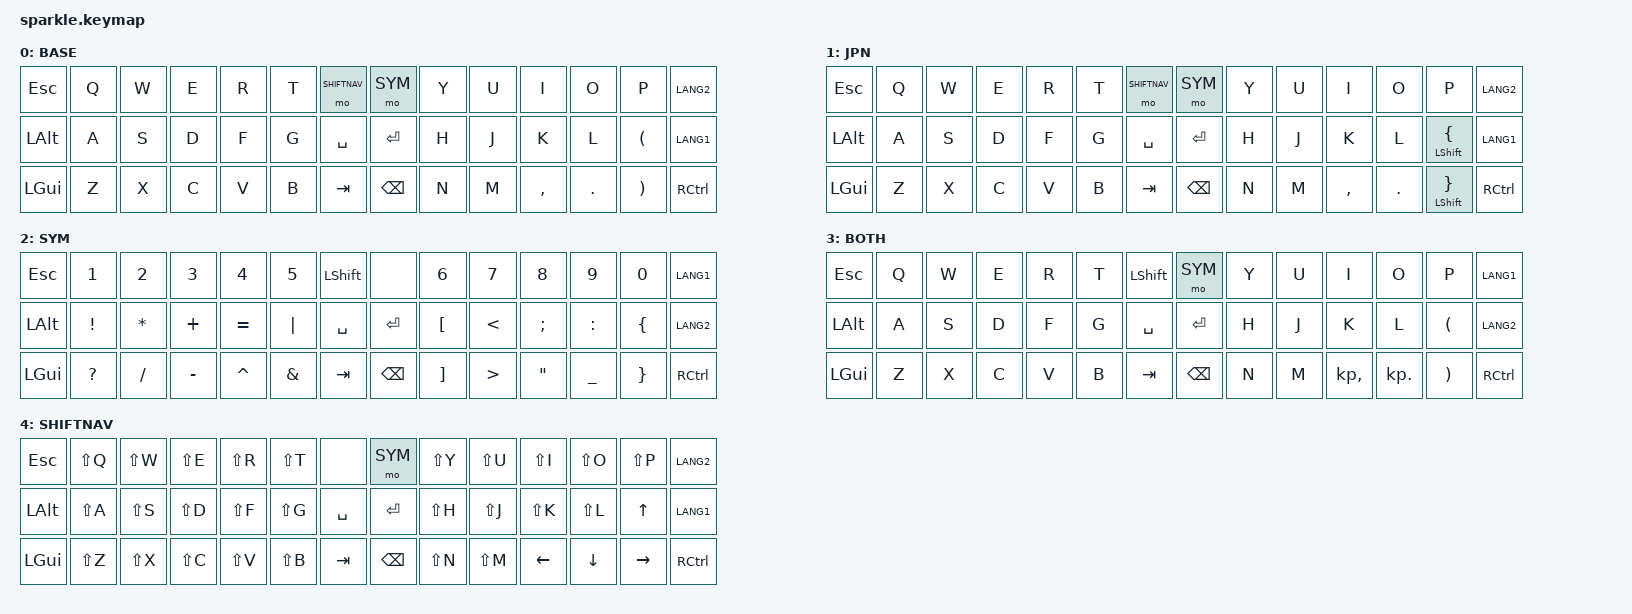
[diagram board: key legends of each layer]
#include <behaviors.dtsi> // ZMKの標準的なビヘイビア定義を読み込み
#include <dt-bindings/zmk/keys.h> // キーコード定義のヘッダー
#include <dt-bindings/zmk/bt.h> // Bluetooth関連のマクロ定義
#include <dt-bindings/zmk/outputs.h> // 出力先の切り替えなどの定義

#define BASE 0        // レイヤー0: 通常キー
#define JPN  1        //NAV  1 // レイヤー1: ナビゲーション用
#define SYM  2        //SYM  2 // レイヤー2: 記号入力用
#define BOTH 3        //ADJ  3 // レイヤー3: 調整・設定用
#define SHIFTNAV 4


#define JP_COMMA COMMA        // ,
#define JP_DOT   DOT          // .

/ {


    keymap {
        compatible = "zmk,keymap";

        base_layer {
            label= "BASE"; // 通常レイヤー
            bindings = <
                    &kp ESC       &kp Q        &kp W        &kp E        &kp R        &kp T        &mo SHIFTNAV     &mo SYM       &kp Y        &kp U        &kp I        &kp O        &kp P        &kp LANG2
                    &kp LEFT_ALT  &kp A        &kp S        &kp D        &kp F        &kp G        &kp SPACE        &kp ENTER     &kp H        &kp J        &kp K        &kp L        &kp LPAR     &kp LANG1
                    &kp LEFT_GUI  &kp Z        &kp X        &kp C        &kp V        &kp B        &kp TAB          &kp BACKSPACE &kp N        &kp M        &kp JP_COMMA    &kp JP_DOT   &kp RPAR     &kp RCTRL
            >;
        };

        jpn_layer {
            label= "JPN"; // ナビゲーション系
            bindings = <
                    &kp ESC       &kp Q        &kp W        &kp E        &kp R        &kp T        &mo SHIFTNAV     &mo SYM       &kp Y        &kp U        &kp I        &kp O        &kp P        &kp LANG2
                    &kp LEFT_ALT  &kp A        &kp S        &kp D        &kp F        &kp G        &kp SPACE        &kp ENTER     &kp H        &kp J        &kp K        &kp L        &mt LSHIFT LBRC     &kp LANG1
                    &kp LEFT_GUI  &kp Z        &kp X        &kp C        &kp V        &kp B        &kp TAB          &kp BACKSPACE &kp N        &kp M        &kp COMMA    &kp DOT      &mt LSHIFT RBRC     &kp RCTRL
            >;
        };

        sim_layer {
            label= "SYM"; // 記号・音声操作レイヤー
            bindings = <
                    &kp ESC       &kp N1        &kp N2        &kp N3        &kp N4        &kp N5        &kp LSHIFT       &none       &kp N6        &kp N7        &kp N8        &kp N9        &kp N0        &kp LANG1
                    &kp LEFT_ALT  &kp EXCL        &kp ASTRK        &kp PLUS        &kp EQUAL        &kp PIPE        &kp SPACE        &kp ENTER     &kp LBKT        &kp LT        &kp SEMI    &kp COLON        &kp LBRC     &kp LANG2
                    &kp LEFT_GUI  &kp QMARK        &kp FSLH        &kp MINUS        &kp CARET        &kp AMPS        &kp TAB          &kp BACKSPACE &kp RBKT        &kp GT        &kp DQT &kp UNDER   &kp RBRC     &kp RCTRL
            >;
        };

        both_layer {
            label= "BOTH"; // システム調整系レイヤー
            bindings = <
                    &kp ESC       &kp Q        &kp W        &kp E        &kp R        &kp T        &kp LSHIFT       &mo SYM       &kp Y        &kp U        &kp I        &kp O        &kp P        &kp LANG1
                    &kp LEFT_ALT  &kp A        &kp S        &kp D        &kp F        &kp G        &kp SPACE        &kp ENTER     &kp H        &kp J        &kp K        &kp L        &kp LPAR     &kp LANG2
                    &kp LEFT_GUI  &kp Z        &kp X        &kp C        &kp V        &kp B        &kp TAB          &kp BACKSPACE &kp N        &kp M        &kp KP_COMMA &kp KP_DOT   &kp RPAR     &kp RCTRL
            >;
        };

        shiftnav_layer {
            label = "SHIFTNAV";
            bindings = <
                &kp ESC          &kp LS(Q)   &kp LS(W)   &kp LS(E)   &kp LS(R)   &kp LS(T)   &none        &mo SYM        &kp LS(Y)   &kp LS(U)    &kp LS(I)    &kp LS(O)   &kp LS(P)   &kp LANG2
                &kp LEFT_ALT     &kp LS(A)   &kp LS(S)   &kp LS(D)   &kp LS(F)   &kp LS(G)   &kp SPACE    &kp ENTER      &kp LS(H)   &kp LS(J)    &kp LS(K)    &kp LS(L)   &kp UP      &kp LANG1
                &kp LEFT_GUI     &kp LS(Z)   &kp LS(X)   &kp LS(C)   &kp LS(V)   &kp LS(B)   &kp TAB      &kp BACKSPACE  &kp LS(N)   &kp LS(M)    &kp LEFT     &kp DOWN    &kp RIGHT   &kp RCTRL
            >;
        };

    };
};
